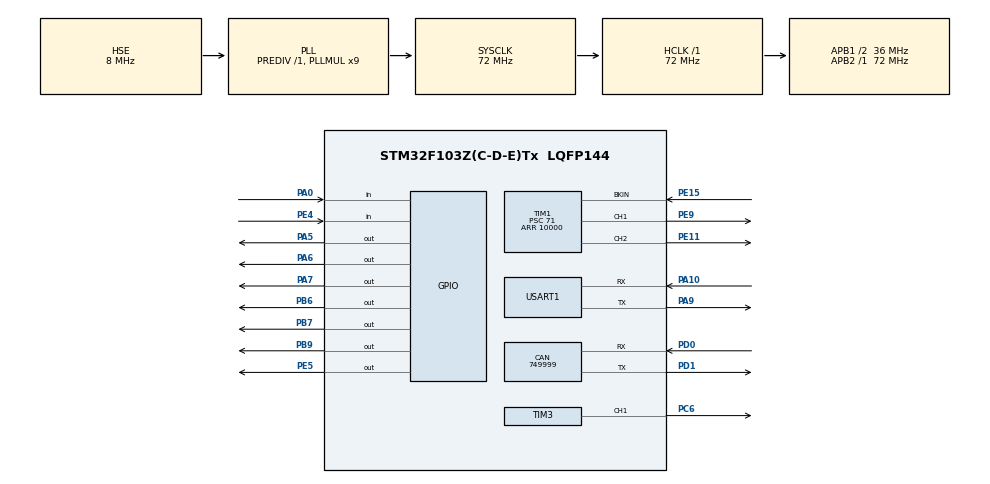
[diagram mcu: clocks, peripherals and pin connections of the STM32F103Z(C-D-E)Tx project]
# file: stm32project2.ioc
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CAN.BS1=CAN_BS1_1TQ
CAN.BS2=CAN_BS2_1TQ
CAN.CalculateBaudRate=749999
CAN.CalculateTimeBit=1333
CAN.CalculateTimeQuantum=444.44444444444446
FREERTOS.Tasks01=motor_move,40,256,StartDefaultTask,Default,NULL,Dynamic,NULL,NULL;motor_dir,32,256,StartTask02,Default,NULL,Dynamic,NULL,NULL
FREERTOS.configUSE_NEWLIB_REENTRANT=1
Mcu.Family=STM32F1
Mcu.Name=STM32F103Z(C-D-E)Tx
Mcu.Package=LQFP144
NVIC.PriorityGroup=NVIC_PRIORITYGROUP_4
NVIC.TIM1_CC_IRQn=true\:5\:0\:false\:false\:true\:true\:true\:true\:true
NVIC.TIM1_TRG_COM_IRQn=true\:5\:0\:false\:false\:true\:true\:true\:true\:true
NVIC.TIM2_IRQn=true\:15\:0\:false\:false\:true\:false\:false\:true\:true
NVIC.TIM5_IRQn=true\:5\:0\:false\:false\:true\:true\:true\:true\:true
NVIC.TimeBase=TIM2_IRQn
NVIC.TimeBaseIP=TIM2
NVIC.USART1_IRQn=true\:5\:0\:false\:false\:true\:true\:true\:true\:true
NVIC.USB_LP_CAN1_RX0_IRQn=true\:5\:0\:false\:false\:true\:true\:true\:true\:true
OSC_IN.Mode=HSE-External-Oscillator
OSC_IN.Signal=RCC_OSC_IN
OSC_OUT.Mode=HSE-External-Oscillator
OSC_OUT.Signal=RCC_OSC_OUT
PA0-WKUP.GPIO_PuPd=GPIO_PULLDOWN
PA0-WKUP.Signal=GPIO_Input
PA10.Mode=Asynchronous
PA10.Signal=USART1_RX
PA13.Mode=Serial_Wire
PA13.Signal=SYS_JTMS-SWDIO
PA14.Mode=Serial_Wire
PA14.Signal=SYS_JTCK-SWCLK
PA5.GPIO_ModeDefaultOutputPP=GPIO_MODE_OUTPUT_OD
PA5.GPIO_PuPd=GPIO_NOPULL
PA5.GPIO_Speed=GPIO_SPEED_FREQ_HIGH
PA5.PinState=GPIO_PIN_RESET
PA5.Signal=GPIO_Output
PA6.GPIO_ModeDefaultOutputPP=GPIO_MODE_OUTPUT_OD
PA6.GPIO_PuPd=GPIO_NOPULL
PA6.GPIO_Speed=GPIO_SPEED_FREQ_HIGH
PA6.PinState=GPIO_PIN_RESET
PA6.Signal=GPIO_Output
PA7.GPIO_PuPd=GPIO_PULLUP
PA7.GPIO_Speed=GPIO_SPEED_FREQ_HIGH
PA7.PinState=GPIO_PIN_SET
PA7.Signal=GPIO_Output
PA9.Mode=Asynchronous
PA9.Signal=USART1_TX
PB6.GPIO_ModeDefaultOutputPP=GPIO_MODE_OUTPUT_OD
PB6.GPIO_PuPd=GPIO_PULLUP
PB6.GPIO_Speed=GPIO_SPEED_FREQ_HIGH
PB6.PinState=GPIO_PIN_RESET
PB6.Signal=GPIO_Output
PB7.GPIO_ModeDefaultOutputPP=GPIO_MODE_OUTPUT_OD
PB7.GPIO_PuPd=GPIO_PULLUP
PB7.GPIO_Speed=GPIO_SPEED_FREQ_HIGH
PB7.PinState=GPIO_PIN_RESET
PB7.Signal=GPIO_Output
PB9.GPIO_ModeDefaultOutputPP=GPIO_MODE_OUTPUT_PP
PB9.GPIO_PuPd=GPIO_PULLUP
PB9.GPIO_Speed=GPIO_SPEED_FREQ_HIGH
PB9.PinState=GPIO_PIN_SET
PB9.Signal=GPIO_Output
PC14-OSC32_IN.Mode=LSE-External-Oscillator
PC14-OSC32_IN.Signal=RCC_OSC32_IN
PC15-OSC32_OUT.Mode=LSE-External-Oscillator
PC15-OSC32_OUT.Signal=RCC_OSC32_OUT
PC6.Signal=S_TIM3_CH1
PD0.Mode=CAN_Activate
PD0.Signal=CAN_RX
PD1.Mode=CAN_Activate
PD1.Signal=CAN_TX
PE11.Signal=S_TIM1_CH2
PE15.Mode=Activate-Break-Input
PE15.Signal=TIM1_BKIN
PE4.GPIO_PuPd=GPIO_PULLUP
PE4.Signal=GPIO_Input
PE5.GPIO_PuPd=GPIO_PULLUP
PE5.GPIO_Speed=GPIO_SPEED_FREQ_HIGH
PE5.PinState=GPIO_PIN_SET
PE5.Signal=GPIO_Output
PE9.Signal=S_TIM1_CH1
ProjectManager.HeapSize=0x400
ProjectManager.StackSize=0x400
ProjectManager.TargetToolchain=STM32CubeIDE
RCC.ADCPresc=RCC_ADCPCLK2_DIV6
RCC.AHBFreq_Value=72000000
RCC.APB1CLKDivider=RCC_HCLK_DIV2
RCC.APB1Freq_Value=36000000
RCC.APB1TimFreq_Value=72000000
RCC.APB2Freq_Value=72000000
RCC.APB2TimFreq_Value=72000000
RCC.HCLKFreq_Value=72000000
RCC.HSICalibrationValue=16
RCC.PLLMUL=RCC_PLL_MUL9
RCC.PLLSourceVirtual=RCC_PLLSOURCE_HSE
RCC.RTCClockSelection=RCC_RTCCLKSOURCE_LSE
RCC.SYSCLKFreq_VALUE=72000000
RCC.SYSCLKSource=RCC_SYSCLKSOURCE_PLLCLK
RCC.USBFreq_Value=72000000
SH.S_TIM1_CH1.0=TIM1_CH1,PWM Generation1 CH1
SH.S_TIM1_CH2.0=TIM1_CH2,Output Compare2 CH2
SH.S_TIM3_CH1.0=TIM3_CH1,Output Compare1 CH1
TIM1.AutoReloadPreload=TIM_AUTORELOAD_PRELOAD_DISABLE
TIM1.Channel-Output\ Compare2\ CH2=TIM_CHANNEL_2
TIM1.Channel-PWM\ Generation1\ CH1=TIM_CHANNEL_1
TIM1.OCMode_2=TIM_OCMODE_TOGGLE
TIM1.Period=10000
TIM1.Prescaler=71
TIM3.Channel-Output\ Compare1\ CH1=TIM_CHANNEL_1
TIM3.OCMode_1=TIM_OCMODE_TOGGLE
TIM3.Period=10000
TIM3.Prescaler=71
TIM4.Prescaler=71
TIM5.Period=109
TIM5.Prescaler=899
USART1.VirtualMode=VM_ASYNC
VP_FREERTOS_VS_CMSIS_V2.Mode=CMSIS_V2
VP_SYS_VS_tim2.Mode=TIM2
VP_TIM1_VS_ClockSourceINT.Mode=Internal
VP_TIM3_VS_ClockSourceINT.Mode=Internal
VP_TIM4_VS_ClockSourceINT.Mode=Internal
VP_TIM5_VS_ClockSourceINT.Mode=Internal
VP_TIM5_VS_ClockSourceITR.Mode=TriggerSource_ITR0
board=custom

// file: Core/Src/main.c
/* USER CODE BEGIN Header */
/**
  ******************************************************************************
  * @file           : main.c
  * @brief          : Main program body
  ******************************************************************************
  * @attention
  *
  * Copyright (c) 2025 STMicroelectronics.
  * All rights reserved.
  *
  * This software is licensed under terms that can be found in the LICENSE file
  * in the root directory of this software component.
  * If no LICENSE file comes with this software, it is provided AS-IS.
  *
  ******************************************************************************
  */
/* USER CODE END Header */
#include "main.h"
#include "cmsis_os.h"
#include "can.h"
#include "tim.h"
#include "usart.h"
#include "gpio.h"

/* USER CODE BEGIN Includes */
#include "i2c.h"
/* USER CODE END Includes */

/* USER CODE BEGIN PTD */
volatile uint16_t pulse=0;
volatile uint16_t pulse_CCR=0;
volatile uint16_t pulse_CCR_PWM=0;
/* USER CODE END PTD */

void SystemClock_Config(void);
void MX_FREERTOS_Init(void);

int main(void)
{

  /* MCU Configuration--------------------------------------------------------*/

  /* Reset of all peripherals, Initializes the Flash interface and the Systick. */
  HAL_Init();

  /* Configure the system clock */
  SystemClock_Config();

  /* Initialize all configured peripherals */
  MX_GPIO_Init();
  MX_CAN_Init();
  MX_TIM1_Init();
  MX_TIM4_Init();
  MX_TIM5_Init();
  MX_USART1_UART_Init();
  MX_TIM3_Init();
  /* USER CODE BEGIN 2 */
  i2c_end();
  HAL_TIM_Base_MspDeInit(&htim5);

  /* USER CODE END 2 */

  /* Init scheduler */
  osKernelInitialize();

  /* Call init function for freertos objects (in cmsis_os2.c) */
  MX_FREERTOS_Init();

  /* Start scheduler */
  osKernelStart();

  /* We should never get here as control is now taken by the scheduler */

  /* Infinite loop */
  while (1)
  {

  }
}

void SystemClock_Config(void)
{
  RCC_OscInitTypeDef RCC_OscInitStruct = {0};
  RCC_ClkInitTypeDef RCC_ClkInitStruct = {0};

  /** Initializes the RCC Oscillators according to the specified parameters
  * in the RCC_OscInitTypeDef structure.
  */
  RCC_OscInitStruct.OscillatorType = RCC_OSCILLATORTYPE_HSE;
  RCC_OscInitStruct.HSEState = RCC_HSE_ON;
  RCC_OscInitStruct.HSEPredivValue = RCC_HSE_PREDIV_DIV1;
  RCC_OscInitStruct.HSIState = RCC_HSI_ON;
  RCC_OscInitStruct.PLL.PLLState = RCC_PLL_ON;
  RCC_OscInitStruct.PLL.PLLSource = RCC_PLLSOURCE_HSE;
  RCC_OscInitStruct.PLL.PLLMUL = RCC_PLL_MUL9;
  if (HAL_RCC_OscConfig(&RCC_OscInitStruct) != HAL_OK)
  {
    Error_Handler();
  }

  /** Initializes the CPU, AHB and APB buses clocks
  */
  RCC_ClkInitStruct.ClockType = RCC_CLOCKTYPE_HCLK|RCC_CLOCKTYPE_SYSCLK
                              |RCC_CLOCKTYPE_PCLK1|RCC_CLOCKTYPE_PCLK2;
  RCC_ClkInitStruct.SYSCLKSource = RCC_SYSCLKSOURCE_PLLCLK;
  RCC_ClkInitStruct.AHBCLKDivider = RCC_SYSCLK_DIV1;
  RCC_ClkInitStruct.APB1CLKDivider = RCC_HCLK_DIV2;
  RCC_ClkInitStruct.APB2CLKDivider = RCC_HCLK_DIV1;

  if (HAL_RCC_ClockConfig(&RCC_ClkInitStruct, FLASH_LATENCY_2) != HAL_OK)
  {
    Error_Handler();
  }
}

void HAL_TIM_PeriodElapsedCallback(TIM_HandleTypeDef *htim)
{
  if (htim->Instance == TIM2) {
    HAL_IncTick();
  }
  /* USER CODE BEGIN Callback 1 */
  if(htim->Instance==TIM5)
  {
    pulse=pulse+1;
    if(pulse%2==0){
      Pulse_Toggle();
    }
    __HAL_TIM_CLEAR_IT(&htim5, TIM_IT_UPDATE);
  }

  /* USER CODE END Callback 1 */
}

void Error_Handler(void)
{
  __disable_irq();
  while (1)
  {
  }
}

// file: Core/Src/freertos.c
/* USER CODE BEGIN Header */
/**
  ******************************************************************************
  * File Name          : freertos.c
  * Description        : Code for freertos applications
  ******************************************************************************
  * @attention
  *
  * Copyright (c) 2025 STMicroelectronics.
  * All rights reserved.
  *
  * This software is licensed under terms that can be found in the LICENSE file
  * in the root directory of this software component.
  * If no LICENSE file comes with this software, it is provided AS-IS.
  *
  ******************************************************************************
  */
/* USER CODE END Header */

#include "FreeRTOS.h"
#include "task.h"
#include "main.h"
#include "cmsis_os.h"

/* USER CODE BEGIN Includes */
#include "gpio.h"
#include "tim.h"
/* USER CODE END Includes */

/* USER CODE BEGIN PTD */
uint8_t flag=1;
uint8_t flag_key=1;
extern uint16_t pulse;
extern uint16_t pulse_CCR;
extern uint16_t pulse_CCR_PWM;
/* USER CODE END PTD */

/* Definitions for motor_move */
osThreadId_t motor_moveHandle;
const osThreadAttr_t motor_move_attributes = {
  .name = "motor_move",
  .stack_size = 256 * 4,
  .priority = (osPriority_t) osPriorityHigh,
};
/* Definitions for motor_dir */
osThreadId_t motor_dirHandle;
const osThreadAttr_t motor_dir_attributes = {
  .name = "motor_dir",
  .stack_size = 256 * 4,
  .priority = (osPriority_t) osPriorityAboveNormal,
};

/* USER CODE BEGIN FunctionPrototypes */
void StopMotor(void);
void StartMotor(void);
void BlinkLEDs(void);
/* USER CODE END FunctionPrototypes */

void StartDefaultTask(void *argument);
void StartTask02(void *argument);

void MX_FREERTOS_Init(void); /* (MISRA C 2004 rule 8.1) */

void MX_FREERTOS_Init(void) {

  /* Create the thread(s) */
  /* creation of motor_move */
  motor_moveHandle = osThreadNew(StartDefaultTask, NULL, &motor_move_attributes);

  /* creation of motor_dir */
  motor_dirHandle = osThreadNew(StartTask02, NULL, &motor_dir_attributes);

}

void StartDefaultTask(void *argument)
{
  /* USER CODE BEGIN StartDefaultTask */
  /* Infinite loop */

   for(;;) {
     if(HAL_GPIO_ReadPin(GPIOA, GPIO_PIN_0) == GPIO_PIN_SET) {
       osDelay(10);
       flag = 0;
     }

     if(flag == 0 && flag_key == 1) {
       if(HAL_GPIO_ReadPin(GPIOA, GPIO_PIN_0) == GPIO_PIN_RESET) {
         StopMotor();
         Dir_CW();
         StartMotor();
         HAL_GPIO_WritePin(MOTOR_EN_GPIO_PORT,MOTOR_EN_PIN,GPIO_PIN_SET);
       }
       flag = 1;
     }

     if(HAL_GPIO_ReadPin(GPIOE, GPIO_PIN_4) == GPIO_PIN_RESET) {
       osDelay(10);
       flag_key = 0;
     }

     if(flag_key == 0 && flag == 1) {
       if(HAL_GPIO_ReadPin(GPIOE, GPIO_PIN_4) == GPIO_PIN_SET) {
         StopMotor();
         Dir_CC();
         StartMotor();
         HAL_GPIO_WritePin(MOTOR_EN_GPIO_PORT,MOTOR_EN_PIN,GPIO_PIN_SET);//这是主要的一步
       }
       flag_key = 1;
     }

     if(pulse > 3200) {
       pulse = 0;
       StopMotor();
       BlinkLEDs();
     }
   }
  /* USER CODE END StartDefaultTask */
}

void StartTask02(void *argument)
{
  /* USER CODE BEGIN StartTask02 */
  while(1){
    osDelay(10);
	}
  /* USER CODE END StartTask02 */
}

/* USER CODE BEGIN Application */

void StopMotor(void) {
  HAL_TIM_Base_MspDeInit(&htim5);
  HAL_GPIO_WritePin(MOTOR_EN_GPIO_PORT,MOTOR_EN_PIN,GPIO_PIN_RESET);
}

void StartMotor(void) {
  HAL_TIM_Base_MspInit(&htim5);
}

void BlinkLEDs(void) {
  HAL_GPIO_TogglePin(GPIOE, GPIO_PIN_5);
  HAL_GPIO_TogglePin(GPIOB, GPIO_PIN_9);
  osDelay(100);
  HAL_GPIO_TogglePin(GPIOE, GPIO_PIN_5);
  HAL_GPIO_TogglePin(GPIOB, GPIO_PIN_9);
  osDelay(300);
  HAL_GPIO_TogglePin(GPIOE, GPIO_PIN_5);
  HAL_GPIO_TogglePin(GPIOB, GPIO_PIN_9);
  osDelay(100);
  HAL_GPIO_TogglePin(GPIOE, GPIO_PIN_5);
  HAL_GPIO_TogglePin(GPIOB, GPIO_PIN_9);
  osDelay(300);
}
/* USER CODE END Application */
